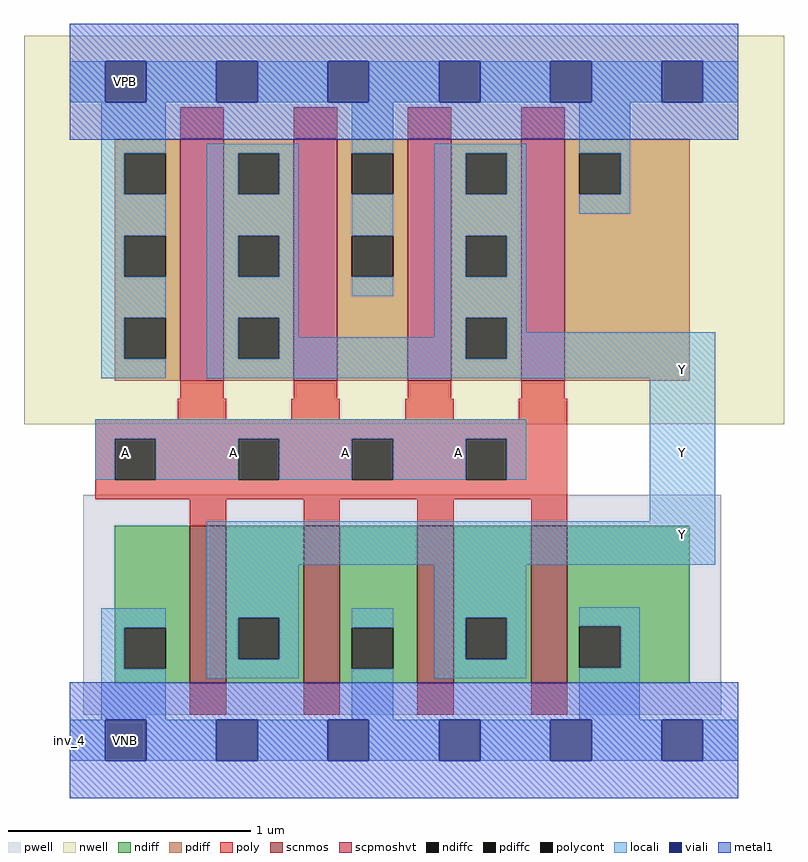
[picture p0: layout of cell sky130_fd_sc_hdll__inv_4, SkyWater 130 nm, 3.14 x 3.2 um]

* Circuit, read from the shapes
.subckt sky130_fd_sc_hdll__inv_4 A VGND VNB VPB VPWR Y
XM1 Y A VGND VNB sky130_fd_pr__nfet_01v8 w=0.65 l=0.15 m=4
XM2 Y A VPWR VPB sky130_fd_pr__pfet_01v8_hvt w=1 l=0.18 m=4
.ends

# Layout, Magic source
magic
tech sky130A
magscale 1 2
<< nwell >>
rect -38 261 590 582
<< pwell >>
rect 11 21 538 203
rect 29 -17 63 21
<< scnmos >>
rect 99 47 129 177
rect 193 47 223 177
rect 287 47 317 177
rect 381 47 411 177
<< scpmoshvt >>
rect 91 297 127 497
rect 185 297 221 497
rect 279 297 315 497
rect 373 297 409 497
<< ndiff >>
rect 37 93 99 177
rect 37 59 45 93
rect 79 59 99 93
rect 37 47 99 59
rect 129 101 193 177
rect 129 67 139 101
rect 173 67 193 101
rect 129 47 193 67
rect 223 93 287 177
rect 223 59 233 93
rect 267 59 287 93
rect 223 47 287 59
rect 317 101 381 177
rect 317 67 327 101
rect 361 67 381 101
rect 317 47 381 67
rect 411 94 512 177
rect 411 60 421 94
rect 455 60 512 94
rect 411 47 512 60
<< pdiff >>
rect 37 485 91 497
rect 37 451 45 485
rect 79 451 91 485
rect 37 417 91 451
rect 37 383 45 417
rect 79 383 91 417
rect 37 349 91 383
rect 37 315 45 349
rect 79 315 91 349
rect 37 297 91 315
rect 127 485 185 497
rect 127 451 139 485
rect 173 451 185 485
rect 127 417 185 451
rect 127 383 139 417
rect 173 383 185 417
rect 127 349 185 383
rect 127 315 139 349
rect 173 315 185 349
rect 127 297 185 315
rect 221 485 279 497
rect 221 451 233 485
rect 267 451 279 485
rect 221 417 279 451
rect 221 383 233 417
rect 267 383 279 417
rect 221 297 279 383
rect 315 485 373 497
rect 315 451 327 485
rect 361 451 373 485
rect 315 417 373 451
rect 315 383 327 417
rect 361 383 373 417
rect 315 349 373 383
rect 315 315 327 349
rect 361 315 373 349
rect 315 297 373 315
rect 409 485 512 497
rect 409 451 421 485
rect 455 451 512 485
rect 409 297 512 451
<< ndiffc >>
rect 45 59 79 93
rect 139 67 173 101
rect 233 59 267 93
rect 327 67 361 101
rect 421 60 455 94
<< pdiffc >>
rect 45 451 79 485
rect 45 383 79 417
rect 45 315 79 349
rect 139 451 173 485
rect 139 383 173 417
rect 139 315 173 349
rect 233 451 267 485
rect 233 383 267 417
rect 327 451 361 485
rect 327 383 361 417
rect 327 315 361 349
rect 421 451 455 485
<< poly >>
rect 91 497 127 523
rect 185 497 221 523
rect 279 497 315 523
rect 373 497 409 523
rect 91 282 127 297
rect 185 282 221 297
rect 279 282 315 297
rect 373 282 409 297
rect 89 265 129 282
rect 183 265 223 282
rect 277 265 317 282
rect 371 265 411 282
rect 21 249 411 265
rect 21 215 37 249
rect 71 215 139 249
rect 173 215 233 249
rect 267 215 327 249
rect 361 215 411 249
rect 21 199 411 215
rect 99 177 129 199
rect 193 177 223 199
rect 287 177 317 199
rect 381 177 411 199
rect 99 21 129 47
rect 193 21 223 47
rect 287 21 317 47
rect 381 21 411 47
<< polycont >>
rect 37 215 71 249
rect 139 215 173 249
rect 233 215 267 249
rect 327 215 361 249
<< locali >>
rect 0 527 29 561
rect 63 527 121 561
rect 155 527 213 561
rect 247 527 305 561
rect 339 527 397 561
rect 431 527 489 561
rect 523 527 552 561
rect 26 485 79 527
rect 26 451 45 485
rect 26 417 79 451
rect 26 383 45 417
rect 26 349 79 383
rect 26 315 45 349
rect 26 299 79 315
rect 113 485 189 493
rect 113 451 139 485
rect 173 451 189 485
rect 113 417 189 451
rect 113 383 139 417
rect 173 383 189 417
rect 113 349 189 383
rect 233 485 267 527
rect 233 417 267 451
rect 233 367 267 383
rect 301 485 377 493
rect 301 451 327 485
rect 361 451 377 485
rect 301 417 377 451
rect 421 485 463 527
rect 455 451 463 485
rect 421 435 463 451
rect 301 383 327 417
rect 361 383 377 417
rect 113 315 139 349
rect 173 333 189 349
rect 301 349 377 383
rect 301 333 327 349
rect 173 315 327 333
rect 361 337 377 349
rect 361 315 533 337
rect 113 299 533 315
rect 21 249 377 265
rect 21 215 37 249
rect 71 215 139 249
rect 173 215 233 249
rect 267 215 327 249
rect 361 215 377 249
rect 479 181 533 299
rect 113 145 533 181
rect 26 93 79 109
rect 26 59 45 93
rect 26 17 79 59
rect 113 101 189 145
rect 113 67 139 101
rect 173 67 189 101
rect 113 51 189 67
rect 233 93 267 109
rect 233 17 267 59
rect 301 101 377 145
rect 301 67 327 101
rect 361 67 377 101
rect 301 51 377 67
rect 421 94 471 110
rect 455 60 471 94
rect 421 17 471 60
rect 0 -17 29 17
rect 63 -17 121 17
rect 155 -17 213 17
rect 247 -17 305 17
rect 339 -17 397 17
rect 431 -17 489 17
rect 523 -17 552 17
<< viali >>
rect 29 527 63 561
rect 121 527 155 561
rect 213 527 247 561
rect 305 527 339 561
rect 397 527 431 561
rect 489 527 523 561
rect 29 -17 63 17
rect 121 -17 155 17
rect 213 -17 247 17
rect 305 -17 339 17
rect 397 -17 431 17
rect 489 -17 523 17
<< metal1 >>
rect 0 561 552 592
rect 0 527 29 561
rect 63 527 121 561
rect 155 527 213 561
rect 247 527 305 561
rect 339 527 397 561
rect 431 527 489 561
rect 523 527 552 561
rect 0 496 552 527
rect 0 17 552 48
rect 0 -17 29 17
rect 63 -17 121 17
rect 155 -17 213 17
rect 247 -17 305 17
rect 339 -17 397 17
rect 431 -17 489 17
rect 523 -17 552 17
rect 0 -48 552 -17
<< labels >>
flabel locali s 489 153 523 187 0 FreeSans 340 0 0 0 Y
port 6 nsew signal output
flabel locali s 489 221 523 255 0 FreeSans 340 0 0 0 Y
port 6 nsew signal output
flabel locali s 489 289 523 323 0 FreeSans 340 0 0 0 Y
port 6 nsew signal output
flabel locali s 29 221 63 255 0 FreeSans 340 0 0 0 A
port 1 nsew signal input
flabel locali s 118 221 152 255 0 FreeSans 340 0 0 0 A
port 1 nsew signal input
flabel locali s 211 221 245 255 0 FreeSans 340 0 0 0 A
port 1 nsew signal input
flabel locali s 304 221 338 255 0 FreeSans 340 0 0 0 A
port 1 nsew signal input
flabel nwell s 29 527 63 561 0 FreeSans 200 0 0 0 VPB
port 4 nsew power bidirectional
flabel pwell s 29 -17 63 17 0 FreeSans 200 0 0 0 VNB
port 3 nsew ground bidirectional
flabel metal1 s 29 527 63 561 0 FreeSans 200 0 0 0 VPWR
port 5 nsew power bidirectional
flabel metal1 s 29 -17 63 17 0 FreeSans 200 0 0 0 VGND
port 2 nsew ground bidirectional
rlabel comment s 0 0 0 0 4 inv_4
<< properties >>
string LEFsite unithd
string LEFclass CORE
string FIXED_BBOX 0 0 552 544
string GDS_FILE $PDKPATH/libs.ref/sky130_fd_sc_hdll/gds/sky130_fd_sc_hdll.gds
string LEFsymmetry X Y R90
string GDS_END 2129220
string GDS_START 2123942
string LEFproperties maskLayoutSubType "abstract" prCellType "standard" originalViewName "layout"
<< end >>
